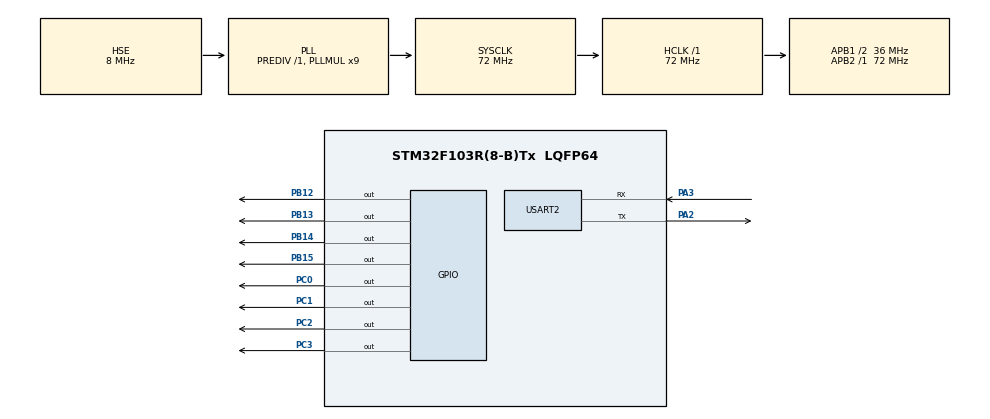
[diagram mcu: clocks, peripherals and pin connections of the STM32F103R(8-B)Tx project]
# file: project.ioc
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Mcu.Family=STM32F1
Mcu.Name=STM32F103R(8-B)Tx
Mcu.Package=LQFP64
NVIC.PriorityGroup=NVIC_PRIORITYGROUP_4
NVIC.USART2_IRQn=true\:0\:0\:false\:false\:true\:true\:true\:true
PA2.Mode=Asynchronous
PA2.Signal=USART2_TX
PA3.Mode=Asynchronous
PA3.Signal=USART2_RX
PB12.Signal=GPIO_Output
PB13.Signal=GPIO_Output
PB14.Signal=GPIO_Output
PB15.Signal=GPIO_Output
PC0.Signal=GPIO_Output
PC1.Signal=GPIO_Output
PC14-OSC32_IN.Mode=LSE-External-Oscillator
PC14-OSC32_IN.Signal=RCC_OSC32_IN
PC15-OSC32_OUT.Mode=LSE-External-Oscillator
PC15-OSC32_OUT.Signal=RCC_OSC32_OUT
PC2.Signal=GPIO_Output
PC3.Signal=GPIO_Output
PD0-OSC_IN.Mode=HSE-External-Clock-Source
PD0-OSC_IN.Signal=RCC_OSC_IN
PD1-OSC_OUT.Mode=HSE-External-Clock-Source
PD1-OSC_OUT.Signal=RCC_OSC_OUT
ProjectManager.HeapSize=0x200
ProjectManager.StackSize=0x400
ProjectManager.TargetToolchain=STM32CubeIDE
RCC.AHBFreq_Value=72000000
RCC.APB1CLKDivider=RCC_HCLK_DIV2
RCC.APB1Freq_Value=36000000
RCC.APB1TimFreq_Value=72000000
RCC.APB2Freq_Value=72000000
RCC.APB2TimFreq_Value=72000000
RCC.HCLKFreq_Value=72000000
RCC.PLLMUL=RCC_PLL_MUL9
RCC.PLLSourceVirtual=RCC_PLLSOURCE_HSE
RCC.SYSCLKFreq_VALUE=72000000
RCC.SYSCLKSource=RCC_SYSCLKSOURCE_PLLCLK
RCC.USBFreq_Value=72000000
USART2.VirtualMode=VM_ASYNC
board=custom

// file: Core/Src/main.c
/* USER CODE BEGIN Header */
/**
  ******************************************************************************
  * @file           : main.c
  * @brief          : Main program body
  ******************************************************************************
  * @attention
  *
  * Copyright (c) 2023 STMicroelectronics.
  * All rights reserved.
  *
  * This software is licensed under terms that can be found in the LICENSE file
  * in the root directory of this software component.
  * If no LICENSE file comes with this software, it is provided AS-IS.
  *
  ******************************************************************************
  */
/* USER CODE END Header */
#include "main.h"

/* USER CODE BEGIN PD */
#define MODE_A	  1
#define MODE_B	  2
#define MODE_C    3
#define MODE_OFF  4
/* USER CODE END PD */

UART_HandleTypeDef huart2;

/* USER CODE BEGIN PV */
volatile uint8_t light_control;
uint8_t RxBuffer[1];
uint8_t message_1[] = "\n\n***************\n";
uint8_t message_2[] = "Light Control\n";
uint8_t message_3[] = "***************\n\n";
uint8_t message_4[] = "[A] mode\n";
uint8_t message_5[] = "[B] mode\n";
uint8_t message_6[] = "[C] mode\n";
uint8_t message_7[] = "[D] mode\n\n";
uint8_t message_8[] = "Mode number : ";
uint8_t message_9[] = "\n\nNow, [A] mode!\n";
uint8_t message_10[] = "\n\nNow, [B] mode!\n";
uint8_t message_11[] = "\n\nNow, [C] mode!\n";
uint8_t message_12[] = "\n\nNow, [D] mode!\n";
uint8_t message_13[] = "\n\nSelect number : 1 ~ 4\n";
/* USER CODE END PV */

void SystemClock_Config(void);
static void MX_GPIO_Init(void);
static void MX_USART2_UART_Init(void);

/* USER CODE BEGIN 0 */
void display_menu() {
  HAL_UART_Transmit(&huart2, message_1, sizeof(message_1), 100);
  HAL_UART_Transmit(&huart2, message_2, sizeof(message_2), 100);
  HAL_UART_Transmit(&huart2, message_3, sizeof(message_3), 100);
  HAL_UART_Transmit(&huart2, message_4, sizeof(message_4), 100);
  HAL_UART_Transmit(&huart2, message_5, sizeof(message_5), 100);
  HAL_UART_Transmit(&huart2, message_6, sizeof(message_6), 100);
  HAL_UART_Transmit(&huart2, message_7, sizeof(message_7), 100);
  HAL_UART_Transmit(&huart2, message_8, sizeof(message_8), 100);
}

typedef struct led {
  GPIO_TypeDef *port;
  uint16_t pin;
   } LED;
LED led[8] = {
  {GPIOC, GPIO_PIN_3},
  {GPIOC, GPIO_PIN_2},
  {GPIOC, GPIO_PIN_1},
  {GPIOC, GPIO_PIN_0},
  {GPIOB, GPIO_PIN_15},
  {GPIOB, GPIO_PIN_14},
  {GPIOB, GPIO_PIN_13},
  {GPIOB, GPIO_PIN_12},
};

void led_all_off() {
  for (uint8_t k = 0; k < 8; k++) {
    HAL_GPIO_WritePin(led[k].port, led[k].pin, GPIO_PIN_RESET);
  }
}

void mode_A() {
	for (uint8_t i = 0; i < 8; i+=2)  {
		HAL_GPIO_WritePin(led[i].port, led[i].pin, GPIO_PIN_SET);
	  if (light_control == MODE_B || light_control == MODE_OFF || light_control == MODE_C) {
		led_all_off();
		return;
	  }
  }
	HAL_Delay(500);
	for (uint8_t i = 0; i < 8; i+=2)  {
			HAL_GPIO_WritePin(led[i].port, led[i].pin, GPIO_PIN_RESET);
		  if (light_control == MODE_B || light_control == MODE_OFF || light_control == MODE_C) {
			led_all_off();
			return;
		  }
	  }
	HAL_Delay(500);
}

void mode_B() {
	while (1)  {
		HAL_GPIO_WritePin(GPIOB, GPIO_PIN_15, GPIO_PIN_SET);
		HAL_GPIO_WritePin(GPIOC, GPIO_PIN_0, GPIO_PIN_SET);
		HAL_Delay(500);
		  if (light_control == MODE_C || light_control == MODE_OFF || light_control == MODE_A) {
			led_all_off();
			return;
		  }
		HAL_GPIO_WritePin(GPIOB, GPIO_PIN_15, GPIO_PIN_RESET);
		HAL_GPIO_WritePin(GPIOC, GPIO_PIN_0, GPIO_PIN_RESET);
		HAL_Delay(500);
		  if (light_control == MODE_C || light_control == MODE_OFF || light_control == MODE_A) {
			led_all_off();
			return;
		  }
		HAL_GPIO_WritePin(GPIOB, GPIO_PIN_14, GPIO_PIN_SET);
		HAL_GPIO_WritePin(GPIOC, GPIO_PIN_1, GPIO_PIN_SET);
		HAL_Delay(500);
		  if (light_control == MODE_C || light_control == MODE_OFF || light_control == MODE_A) {
			led_all_off();
			return;
		  }
		HAL_GPIO_WritePin(GPIOB, GPIO_PIN_14, GPIO_PIN_RESET);
		HAL_GPIO_WritePin(GPIOC, GPIO_PIN_1, GPIO_PIN_RESET);
		HAL_Delay(500);
		  if (light_control == MODE_C || light_control == MODE_OFF || light_control == MODE_A) {
			led_all_off();
			return;
		  }
		HAL_GPIO_WritePin(GPIOB, GPIO_PIN_13, GPIO_PIN_SET);
		HAL_GPIO_WritePin(GPIOC, GPIO_PIN_2, GPIO_PIN_SET);
		HAL_Delay(500);
		  if (light_control == MODE_C || light_control == MODE_OFF || light_control == MODE_A) {
			led_all_off();
			return;
		  }
		HAL_GPIO_WritePin(GPIOB, GPIO_PIN_13, GPIO_PIN_RESET);
		HAL_GPIO_WritePin(GPIOC, GPIO_PIN_2, GPIO_PIN_RESET);
		HAL_Delay(500);
		  if (light_control == MODE_C || light_control == MODE_OFF || light_control == MODE_A) {
			led_all_off();
			return;
		  }
		HAL_GPIO_WritePin(GPIOB, GPIO_PIN_12, GPIO_PIN_SET);
		HAL_GPIO_WritePin(GPIOC, GPIO_PIN_3, GPIO_PIN_SET);
		HAL_Delay(500);
		  if (light_control == MODE_C || light_control == MODE_OFF || light_control == MODE_A) {
			led_all_off();
			return;
		  }
		HAL_GPIO_WritePin(GPIOB, GPIO_PIN_12, GPIO_PIN_RESET);
		HAL_GPIO_WritePin(GPIOC, GPIO_PIN_3, GPIO_PIN_RESET);
		HAL_Delay(500);
	  if (light_control == MODE_C || light_control == MODE_OFF || light_control == MODE_A) {
		led_all_off();
		return;
	  }
  }
}

void mode_C() {
  for (uint8_t k = 0; k < 8; k++) {
    HAL_GPIO_WritePin(led[k].port, led[k].pin, GPIO_PIN_SET);
  }
  if (light_control == MODE_A || light_control == MODE_OFF || light_control == MODE_B) {
	led_all_off();
	return;
  }
  HAL_Delay(1000);
  for (uint8_t k = 0; k < 8; k++) {
    HAL_GPIO_WritePin(led[k].port, led[k].pin, GPIO_PIN_RESET);
  }
  HAL_Delay(1000);
  if (light_control == MODE_A || light_control == MODE_OFF || light_control == MODE_B) {
	led_all_off();
	return;
  }
}

/* USER CODE END 0 */

int main(void)
{

  /* MCU Configuration--------------------------------------------------------*/

  /* Reset of all peripherals, Initializes the Flash interface and the Systick. */
  HAL_Init();

  /* Configure the system clock */
  SystemClock_Config();

  /* Initialize all configured peripherals */
  MX_GPIO_Init();
  MX_USART2_UART_Init();
  /* USER CODE BEGIN 2 */
  display_menu();
  HAL_UART_Receive_IT(&huart2, RxBuffer, 1);
  /* USER CODE END 2 */

  /* Infinite loop */
  /* USER CODE BEGIN WHILE */
  while (1)
  {
	  if (light_control == MODE_A)
	  		  mode_A();
	  	  else if (light_control == MODE_B)
	  		  mode_B();
	  	  else if (light_control == MODE_C)
	  		  mode_C();
	  	  else
	  		  led_all_off();
    /* USER CODE END WHILE */

  }
}

void SystemClock_Config(void)
{
  RCC_OscInitTypeDef RCC_OscInitStruct = {0};
  RCC_ClkInitTypeDef RCC_ClkInitStruct = {0};

  /** Initializes the RCC Oscillators according to the specified parameters
  * in the RCC_OscInitTypeDef structure.
  */
  RCC_OscInitStruct.OscillatorType = RCC_OSCILLATORTYPE_HSE;
  RCC_OscInitStruct.HSEState = RCC_HSE_BYPASS;
  RCC_OscInitStruct.HSEPredivValue = RCC_HSE_PREDIV_DIV1;
  RCC_OscInitStruct.HSIState = RCC_HSI_ON;
  RCC_OscInitStruct.PLL.PLLState = RCC_PLL_ON;
  RCC_OscInitStruct.PLL.PLLSource = RCC_PLLSOURCE_HSE;
  RCC_OscInitStruct.PLL.PLLMUL = RCC_PLL_MUL9;
  if (HAL_RCC_OscConfig(&RCC_OscInitStruct) != HAL_OK)
  {
    Error_Handler();
  }

  /** Initializes the CPU, AHB and APB buses clocks
  */
  RCC_ClkInitStruct.ClockType = RCC_CLOCKTYPE_HCLK|RCC_CLOCKTYPE_SYSCLK
                              |RCC_CLOCKTYPE_PCLK1|RCC_CLOCKTYPE_PCLK2;
  RCC_ClkInitStruct.SYSCLKSource = RCC_SYSCLKSOURCE_PLLCLK;
  RCC_ClkInitStruct.AHBCLKDivider = RCC_SYSCLK_DIV1;
  RCC_ClkInitStruct.APB1CLKDivider = RCC_HCLK_DIV2;
  RCC_ClkInitStruct.APB2CLKDivider = RCC_HCLK_DIV1;

  if (HAL_RCC_ClockConfig(&RCC_ClkInitStruct, FLASH_LATENCY_2) != HAL_OK)
  {
    Error_Handler();
  }
}

static void MX_USART2_UART_Init(void)
{

  huart2.Instance = USART2;
  huart2.Init.BaudRate = 115200;
  huart2.Init.WordLength = UART_WORDLENGTH_8B;
  huart2.Init.StopBits = UART_STOPBITS_1;
  huart2.Init.Parity = UART_PARITY_NONE;
  huart2.Init.Mode = UART_MODE_TX_RX;
  huart2.Init.HwFlowCtl = UART_HWCONTROL_NONE;
  huart2.Init.OverSampling = UART_OVERSAMPLING_16;
  if (HAL_UART_Init(&huart2) != HAL_OK)
  {
    Error_Handler();
  }

}

static void MX_GPIO_Init(void)
{
  GPIO_InitTypeDef GPIO_InitStruct = {0};

  /* GPIO Ports Clock Enable */
  __HAL_RCC_GPIOC_CLK_ENABLE();
  __HAL_RCC_GPIOD_CLK_ENABLE();
  __HAL_RCC_GPIOA_CLK_ENABLE();
  __HAL_RCC_GPIOB_CLK_ENABLE();

  /*Configure GPIO pin Output Level */
  HAL_GPIO_WritePin(GPIOC, GPIO_PIN_0|GPIO_PIN_1|GPIO_PIN_2|GPIO_PIN_3, GPIO_PIN_RESET);

  /*Configure GPIO pin Output Level */
  HAL_GPIO_WritePin(GPIOB, GPIO_PIN_12|GPIO_PIN_13|GPIO_PIN_14|GPIO_PIN_15, GPIO_PIN_RESET);

  /*Configure GPIO pins : PC0 PC1 PC2 PC3 */
  GPIO_InitStruct.Pin = GPIO_PIN_0|GPIO_PIN_1|GPIO_PIN_2|GPIO_PIN_3;
  GPIO_InitStruct.Mode = GPIO_MODE_OUTPUT_PP;
  GPIO_InitStruct.Pull = GPIO_NOPULL;
  GPIO_InitStruct.Speed = GPIO_SPEED_FREQ_LOW;
  HAL_GPIO_Init(GPIOC, &GPIO_InitStruct);

  /*Configure GPIO pins : PB12 PB13 PB14 PB15 */
  GPIO_InitStruct.Pin = GPIO_PIN_12|GPIO_PIN_13|GPIO_PIN_14|GPIO_PIN_15;
  GPIO_InitStruct.Mode = GPIO_MODE_OUTPUT_PP;
  GPIO_InitStruct.Pull = GPIO_NOPULL;
  GPIO_InitStruct.Speed = GPIO_SPEED_FREQ_LOW;
  HAL_GPIO_Init(GPIOB, &GPIO_InitStruct);

}

/* USER CODE BEGIN 4 */
void HAL_UART_RxCpltCallback(UART_HandleTypeDef *huart)
{
	switch (RxBuffer[0]) {
			    case '1':
			    	light_control = MODE_A;
			      HAL_UART_Transmit(&huart2, RxBuffer, sizeof(RxBuffer), 100);
			      HAL_UART_Transmit(&huart2, message_9, sizeof(message_9), 100);
			      display_menu();
			      break;
			    case '2':
			    	light_control = MODE_B;
			      HAL_UART_Transmit(&huart2, RxBuffer, sizeof(RxBuffer), 100);
			      HAL_UART_Transmit(&huart2, message_10, sizeof(message_10), 100);
			      display_menu();
			      break;
			    case '3':
			    	light_control = MODE_C;
			       HAL_UART_Transmit(&huart2, RxBuffer, sizeof(RxBuffer), 100);
			       HAL_UART_Transmit(&huart2, message_11, sizeof(message_11), 100);
			       display_menu();
			       break;
			    case '4':
			    	light_control = MODE_OFF;
			       HAL_UART_Transmit(&huart2, RxBuffer, sizeof(RxBuffer), 100);
			       HAL_UART_Transmit(&huart2, message_12, sizeof(message_12), 100);
			       display_menu();
			       break;
			     default :
			       RxBuffer[0] = '\a';
			       HAL_UART_Transmit(&huart2, RxBuffer, sizeof(RxBuffer), 100);
			       HAL_UART_Transmit(&huart2, message_13, sizeof(message_13), 100);
			       display_menu();
			       break;
			   }
			   HAL_UART_Receive_IT(&huart2, RxBuffer, 1);
}
/* USER CODE END 4 */

void Error_Handler(void)
{
  __disable_irq();
  while (1)
  {
  }
}
